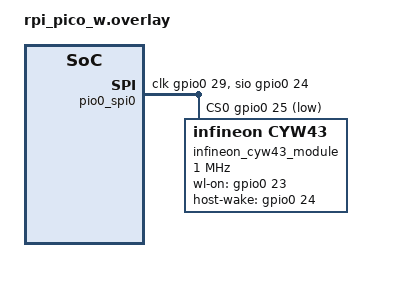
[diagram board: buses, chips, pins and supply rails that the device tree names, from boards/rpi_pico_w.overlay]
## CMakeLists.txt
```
# SPDX-License-Identifier: Apache-2.0

cmake_minimum_required(VERSION 3.20.0)
set(EXTRA_CONF_FILE local.conf)
find_package(Zephyr REQUIRED HINTS $ENV{ZEPHYR_BASE})
project(app LANGUAGES C)

target_sources(app PRIVATE src/main.c)
```

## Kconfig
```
config WIFI_SSID
	string "WIFI SSID - Network name"
	default ""

config WIFI_PSK
	string "WIFI PSK - Network password key"
	default ""

menu "Zephyr"
source "Kconfig.zephyr"
endmenu
```

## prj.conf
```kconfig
#
# Copyright (c) 2023 Beechwoods Software
#
# SPDX-License-Identifier: Apache-2.0
#

CONFIG_LOG_PROCESS_THREAD_STACK_SIZE=1024
CONFIG_NET_MGMT_EVENT_STACK_SIZE=2048
CONFIG_SHELL_STACK_SIZE=2560

CONFIG_NET_LOG=y
#CONFIG_NET_IF_LOG_LEVEL_DBG=y
#CONFIG_NET_PKT_LOG_LEVEL_DBG=y
#CONFIG_WIFI_LOG_LEVEL_DBG=y
#CONFIG_NET_CAPTURE_LOG_LEVEL_DBG=y
#CONFIG_DNS_RESOLVER_LOG_LEVEL_DBG=y

CONFIG_POSIX_API=y

CONFIG_WIFI=y
CONFIG_WIFI_ZEPHYR_CYW43=y

# To use the picowi spi-pio implementation, change CONFIG_USE_PICOWI_PIOSPI to 'y'
CONFIG_USE_PICOWI_PIOSPI=y

CONFIG_UART_CONSOLE_DEBUG_SERVER_HOOKS=n

CONFIG_WIFI_ZEPHYR_CYW43_SHELL=y

CONFIG_ENTROPY_GENERATOR=y
CONFIG_TEST_RANDOM_GENERATOR=y

CONFIG_NETWORKING=y
CONFIG_NET_L2_ETHERNET=y
CONFIG_INIT_STACKS=y
CONFIG_NET_STATISTICS=y
CONFIG_NET_STATISTICS_WIFI=y
CONFIG_NET_STATISTICS_USER_API=y

CONFIG_NET_SHELL=y
CONFIG_NET_CONFIG_SETTINGS=y
CONFIG_NET_CONFIG_INIT_TIMEOUT=60
CONFIG_NET_CONFIG_AUTO_INIT=n
CONFIG_NET_L2_WIFI_SHELL=y

CONFIG_NET_UDP=y
CONFIG_NET_TCP=y

CONFIG_NET_MGMT=y
CONFIG_NET_MGMT_EVENT=y
CONFIG_WIFI_MGMT_RAW_SCAN_RESULTS=y
CONFIG_NET_MGMT_EVENT_MONITOR=y

CONFIG_NET_IPV6=n
CONFIG_NET_IPV4=y
CONFIG_NET_DHCPV4=y

CONFIG_DNS_RESOLVER=y
CONFIG_DNS_RESOLVER_ADDITIONAL_BUF_CTR=5
CONFIG_DNS_RESOLVER_ADDITIONAL_QUERIES=2
CONFIG_MDNS_RESOLVER=y
CONFIG_DNS_SERVER_IP_ADDRESSES=y
CONFIG_DNS_SERVER1="8.8.8.8"

# Powersave parameters
CONFIG_WIFI_ZEPHYR_CYW43_POWERSAVE_MODE=0
CONFIG_WIFI_ZEPHYR_CYW43_POWERSAVE_PM2_SLEEP_RET_MS=20
CONFIG_WIFI_ZEPHYR_CYW43_POWERSAVE_LI_BEACON_PERIOD=1
CONFIG_WIFI_ZEPHYR_CYW43_POWERSAVE_LI_DTIM_PERIOD=1
CONFIG_WIFI_ZEPHYR_CYW43_POWERSAVE_LI_ASSOC=10
```

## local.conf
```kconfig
CONFIG_WIFI_SSID="ClarkeBelt_2Ghz"
CONFIG_WIFI_PSK="TAKAPG43"
```

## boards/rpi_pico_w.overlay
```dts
&pinctrl {
	pio0_spi0_default: pio0_spi0_default {
	    /* gpio 25 is used for chip select, not assigned to the PIO */
		group1 {
			pinmux = <PIO0_P29>, <PIO0_P23>;
		};
	};

};

&pio0 {
 	status = "okay";

	pio0_spi0: pio0_spi0 {
		pinctrl-0 = <&pio0_spi0_default>;
		pinctrl-names = "default";

		compatible = "custom_raspberrypi,pico-spi-pio";
		status = "okay";
		#address-cells = <1>;
		#size-cells = <0>;
		clocks = < &system_clk >;
    	cs-gpios = <&gpio0 25 GPIO_ACTIVE_LOW>;
		clk-gpios = <&gpio0 29 GPIO_ACTIVE_HIGH>;
		sio-gpios = <&gpio0 24 GPIO_ACTIVE_HIGH>;
		infineon_cyw43_module: infineon_cyw43_module@0 {
			compatible = "infineon,cyw43";
			reg = < 0x0 >;
			spi-max-frequency = < 1000000 >;
			wl-on-gpios = < &gpio0 23 GPIO_ACTIVE_HIGH >;
			host-wake-gpios = <&gpio0 24 GPIO_ACTIVE_HIGH>;	

			cyw43_led: cyw43_led {		/* Pico W LED is on CYW43439 GPIO 0 */
				compatible = "infineon,cyw43_led";
			};
			cyw43_gpio: cyw43_gpio {
				compatible = "infineon,cyw43_gpio";
			};
		};
	};
};
```

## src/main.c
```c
/*
 * Copyright (c) 2023 Beechwoods Software
 *
 * SPDX-License-Identifier: Apache-2.0
 */

#include <stdio.h>
#include <unistd.h>
#include <zephyr/net/wifi_mgmt.h>
#include <zephyr/net/net_if.h>
#include <zephyr/net/net_config.h>

void wifi_connect(char *ssid, char * passwd) {
    int ret;
    
    struct net_if *iface = net_if_get_default();
    printf("Default interface is %s\n", iface->if_dev->dev->name);
    static struct wifi_connect_req_params req_params = {
        .channel = 0,
        .security = WIFI_SECURITY_TYPE_PSK,
    };
    req_params.ssid = ssid;
    req_params.ssid_length = strlen(ssid);
    req_params.psk = passwd;
    req_params.psk_length = strlen(passwd);
    printf("\n\ncalling net_mgmt(NET_REQUEST_WIFI_CONNECT)\n");
    ret = net_mgmt(NET_REQUEST_WIFI_CONNECT, iface, &req_params, sizeof(struct wifi_connect_req_params));
    printf("%d Finished calling net_mgmt(NET_REQUEST_WIFI_SCAN)\n", ret);
}

int main(void)
{
	/* NET_CONFIG_SETTINGS will init DHCP
	 * NET_SHELL is enabled to test driver and network stack
	 */

  if (strcmp(CONFIG_WIFI_SSID, "") && strcmp(CONFIG_WIFI_PSK, "")) {
    sleep(1);
    printf("Connecting to network \"%s\"\n", CONFIG_WIFI_SSID);
    wifi_connect(CONFIG_WIFI_SSID, CONFIG_WIFI_PSK);
  }
  else {
    printf("To configure wifi, either:\n");
    printf("\n");
    printf("  1. Run 'wifi connect \"<SSID>\" \"<passphrase>\"' on the command line.\n");
    printf("\n");
    printf("                        - or -\n");
    printf("\n");
    printf("  2. Define CONFIG_WIFI_SSID and CONFIG_WIFI_PSK in local.conf and rebuild.\n");
    printf("\n");
  }
  (void)net_config_init_app(NULL, "Initializing network");
  return 0;
}
```
